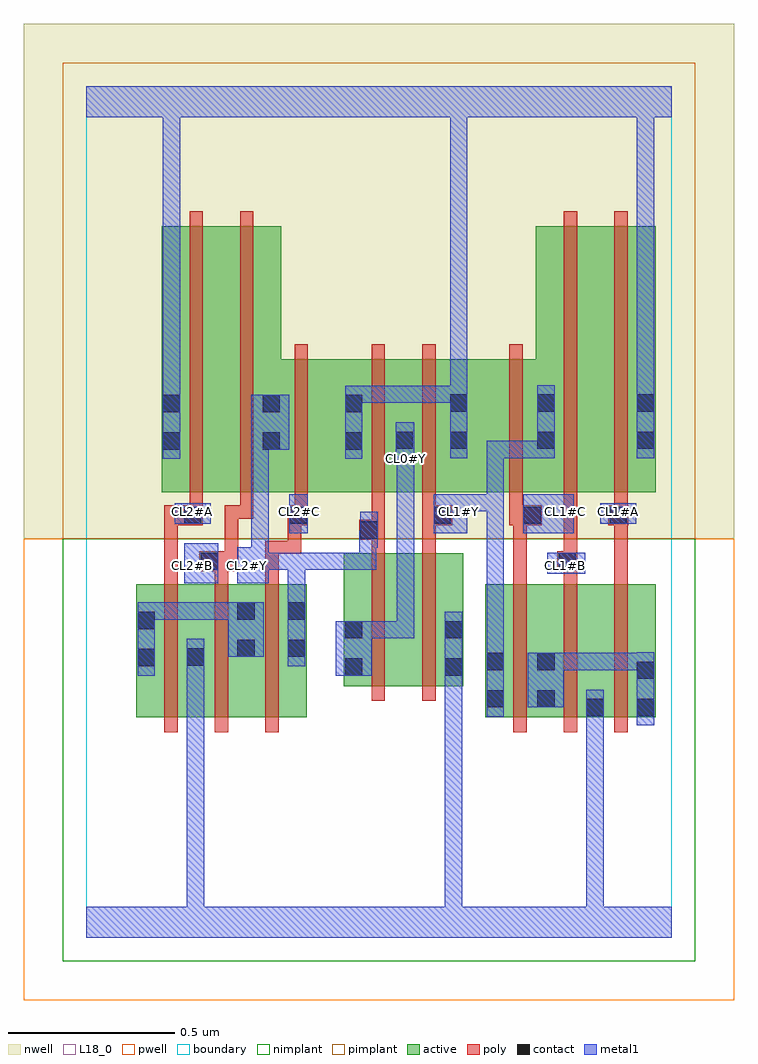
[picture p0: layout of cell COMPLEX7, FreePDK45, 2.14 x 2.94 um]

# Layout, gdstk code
import gdstk
lib = gdstk.Library(unit=1e-6, precision=1e-09)
def R(c, l, rs):  # rectangles x0, y0, x1, y1
    for r in rs: c.add(gdstk.rectangle(r[:2], r[2:], *l))
def A(c, l, x, y, w, h, nx, ny, dx, dy):  # array of equal rectangles
    R(c, l, [(x+i*dx, y+j*dy, x+i*dx+w, y+j*dy+h) for i in range(nx) for j in range(ny)])
active = (1, 0)
pwell = (2, 0)
nwell = (3, 0)
nimplant = (4, 0)
pimplant = (5, 0)
poly = (9, 0)
contact = (10, 0)
metal1 = (11, 0)
L18_0 = (18, 0)
boundary = (235, 0)

complex7 = lib.new_cell('COMPLEX7')
A(complex7, active, 0.298, 0.662, 0.06, 0.4, 3, 1, 0.152, 0)
R(complex7, active, [(0.15,0.662,0.21,1.062), (0.15,0.662,0.358,1.062), (0.298,0.662,0.51,1.062), (0.45,0.662,0.662,1.062), (1.2,0.662,1.26,1.062), (1.2,0.662,1.412,1.062), (1.352,0.662,1.412,1.062), (1.352,0.662,1.56,1.062), (1.5,0.662,1.712,1.062), (1.5,0.662,1.56,0.828), (1.652,0.662,1.712,1.062), (0.774,0.756,0.834,1.156), (0.774,0.756,0.954,1.156), (0.954,0.756,1.134,1.156), (1.074,0.756,1.134,1.156), (0.226,1.34,0.286,2.044), (0.226,1.34,0.406,2.14), (0.406,1.34,0.586,2.14), (0.526,1.34,0.834,1.74), (0.526,1.34,0.586,2.14), (0.774,1.34,0.834,1.74), (0.774,1.34,0.986,1.74), (0.926,1.34,1.15,1.74), (1.09,1.34,1.15,1.74), (1.09,1.34,1.412,1.74), (1.352,1.34,1.532,2.14), (1.352,1.34,1.412,1.772), (1.532,1.34,1.712,2.14), (1.652,1.34,1.712,2.044), (0.926,1.466,0.986,1.644)])
R(complex7, pwell, [(-0.188,-0.188,1.948,1.2)])
R(complex7, nwell, [(-0.188,1.2,1.948,2.748)])
R(complex7, nimplant, [(-0.072,-0.072,1.832,1.2)])
R(complex7, pimplant, [(-0.072,1.2,1.832,2.632)])
A(complex7, poly, 0.234, 0.618, 0.04, 0.488, 3, 1, 0.152, 0)
A(complex7, poly, 1.284, 0.618, 0.04, 0.488, 3, 1, 0.152, 0)
R(complex7, poly, [(0.858,0.712,0.898,1.2), (1.01,0.712,1.05,1.2), (0.234,1.066,0.274,1.28), (0.386,1.066,0.426,1.142), (0.538,1.066,0.578,1.194), (1.284,1.066,1.324,1.28), (1.436,1.066,1.476,1.142), (1.588,1.066,1.628,1.28), (0.34,1.102,0.456,1.162), (1.416,1.102,1.476,1.162), (0.416,1.122,0.456,1.3), (1.436,1.122,1.476,1.162), (1.436,1.122,1.476,1.162), (1.436,1.122,1.476,1.336), (0.538,1.154,0.646,1.194), (0.606,1.154,0.646,1.28), (0.858,1.16,0.898,1.236), (1.01,1.16,1.05,1.28), (0.82,1.196,0.898,1.256), (0.858,1.216,0.898,1.256), (0.858,1.216,0.898,1.256), (0.858,1.216,0.898,1.336), (0.234,1.24,0.274,1.28), (0.234,1.24,0.274,1.28), (0.234,1.24,0.35,1.3), (0.606,1.24,0.666,1.3), (1.01,1.24,1.1,1.3), (1.272,1.24,1.37,1.3), (1.284,1.24,1.324,1.28), (1.284,1.24,1.324,1.28), (1.57,1.24,1.63,1.3), (1.588,1.24,1.628,1.28), (1.588,1.24,1.628,1.28), (0.31,1.26,0.35,1.336), (0.416,1.26,0.502,1.3), (0.462,1.26,0.502,1.336), (0.626,1.26,0.666,1.336), (1.01,1.26,1.05,1.336), (1.01,1.26,1.05,1.3), (1.01,1.26,1.05,1.3), (1.272,1.26,1.312,1.336), (1.588,1.26,1.628,1.336), (0.31,1.296,0.35,2.184), (0.462,1.296,0.502,2.184), (0.626,1.296,0.666,1.784), (0.858,1.296,0.898,1.784), (1.01,1.296,1.05,1.784), (1.272,1.296,1.312,1.784), (1.436,1.296,1.476,2.184), (1.588,1.296,1.628,2.184)])
R(complex7, contact, [(1.504,0.666,1.556,0.718), (1.656,0.666,1.708,0.718), (1.204,0.692,1.256,0.744), (1.356,0.692,1.408,0.744), (1.656,0.778,1.708,0.83), (0.778,0.788,0.83,0.84), (1.078,0.788,1.13,0.84), (1.204,0.804,1.256,0.856), (1.356,0.804,1.408,0.856), (0.154,0.816,0.206,0.868), (0.302,0.818,0.354,0.87), (0.454,0.844,0.506,0.896), (0.606,0.844,0.658,0.896), (0.778,0.9,0.83,0.952), (1.078,0.9,1.13,0.952), (0.154,0.928,0.206,0.98), (0.454,0.956,0.506,1.008), (0.606,0.956,0.658,1.008), (0.344,1.106,0.396,1.158), (1.42,1.106,1.472,1.158), (0.824,1.2,0.876,1.252), (0.294,1.244,0.346,1.296), (0.61,1.244,0.662,1.296), (1.044,1.244,1.096,1.296), (1.314,1.244,1.366,1.296), (1.574,1.244,1.626,1.296), (0.23,1.468,0.282,1.52), (0.53,1.468,0.582,1.52), (0.778,1.468,0.83,1.52), (0.93,1.47,0.982,1.522), (1.094,1.47,1.146,1.522), (1.356,1.47,1.408,1.522), (1.656,1.47,1.708,1.522), (0.23,1.58,0.282,1.632), (0.53,1.58,0.582,1.632), (0.778,1.58,0.83,1.632), (1.094,1.582,1.146,1.634), (1.356,1.582,1.408,1.634), (1.656,1.582,1.708,1.634)])
R(complex7, metal1, [(0,0,1.76,0.092), (0.302,0.04,0.354,0.092), (0.302,0.04,0.354,0.092), (0.302,0.04,0.354,0.092), (0.302,0.04,0.354,0.092), (0.302,0.04,0.354,0.092), (0.302,0.04,0.354,0.092), (0.302,0.04,0.354,0.842), (1.078,0.04,1.13,0.092), (1.078,0.04,1.13,0.092), (1.078,0.04,1.13,0.092), (1.078,0.04,1.13,0.092), (1.078,0.04,1.13,0.092), (1.078,0.04,1.13,0.092), (1.078,0.04,1.13,0.092), (1.078,0.04,1.13,0.092), (1.078,0.04,1.13,0.092), (1.078,0.04,1.13,0.092), (1.078,0.04,1.13,0.092), (1.078,0.04,1.13,0.092), (1.078,0.04,1.13,0.812), (1.504,0.04,1.556,0.092), (1.504,0.04,1.556,0.092), (1.504,0.04,1.556,0.092), (1.504,0.04,1.556,0.092), (1.504,0.04,1.556,0.092), (1.504,0.04,1.556,0.092), (1.504,0.04,1.556,0.092), (1.504,0.04,1.556,0.092), (1.504,0.04,1.556,0.092), (1.504,0.04,1.556,0.092), (1.504,0.04,1.556,0.092), (1.504,0.04,1.556,0.092), (1.504,0.04,1.556,0.69), (1.504,0.638,1.556,0.746), (1.656,0.638,1.708,0.858), (1.204,0.664,1.256,0.884), (1.328,0.692,1.436,0.856), (1.078,0.76,1.13,0.98), (0.154,0.788,0.206,1.008), (0.75,0.788,0.858,0.952), (0.302,0.79,0.354,0.842), (0.302,0.79,0.354,0.842), (0.302,0.79,0.354,0.842), (0.302,0.79,0.354,0.842), (0.302,0.79,0.354,0.842), (0.302,0.79,0.354,0.842), (0.302,0.79,0.354,0.898), (1.384,0.804,1.436,0.856), (1.384,0.804,1.436,0.856), (1.384,0.804,1.598,0.856), (1.546,0.804,1.598,0.856), (1.546,0.804,1.708,0.856), (1.656,0.804,1.708,0.856), (1.656,0.804,1.708,0.856), (0.606,0.816,0.658,1.036), (1.204,0.832,1.256,1.334), (0.426,0.844,0.534,1.008), (0.806,0.9,0.986,0.952), (0.934,0.9,0.986,0.952), (0.934,0.9,0.986,0.952), (0.934,0.9,0.986,0.952), (0.934,0.9,0.986,1.438), (0.154,0.956,0.206,1.008), (0.154,0.956,0.206,1.008), (0.154,0.956,0.368,1.008), (0.316,0.956,0.368,1.008), (0.316,0.956,0.478,1.008), (0.426,0.956,0.478,1.008), (0.426,0.956,0.478,1.008), (0.606,0.984,0.658,1.158), (0.294,1.066,0.396,1.186), (0.454,1.066,0.548,1.174), (1.386,1.094,1.5,1.158), (0.496,1.106,0.658,1.158), (0.606,1.106,0.658,1.158), (0.606,1.106,0.658,1.158), (0.606,1.106,0.658,1.158), (0.606,1.106,0.872,1.158), (0.82,1.106,0.872,1.224), (0.496,1.122,0.548,1.52), (0.82,1.172,0.876,1.224), (0.824,1.172,0.876,1.28), (0.61,1.216,0.666,1.334), (1.044,1.216,1.146,1.334), (1.314,1.216,1.466,1.334), (0.266,1.244,0.374,1.306), (1.546,1.244,1.654,1.306), (1.094,1.282,1.146,1.334), (1.094,1.282,1.146,1.334), (1.094,1.282,1.256,1.334), (1.204,1.282,1.256,1.334), (1.204,1.282,1.256,1.334), (1.204,1.282,1.256,1.334), (1.204,1.282,1.256,1.494), (0.934,1.386,0.986,1.494), (0.23,1.44,0.282,1.66), (0.778,1.44,0.83,1.66), (0.93,1.442,0.986,1.55), (0.934,1.442,0.986,1.494), (0.934,1.442,0.986,1.494), (0.934,1.442,0.986,1.494), (1.094,1.442,1.146,1.662), (1.204,1.442,1.256,1.494), (1.204,1.442,1.256,1.494), (1.204,1.442,1.256,1.494), (1.204,1.442,1.408,1.494), (1.356,1.442,1.408,1.662), (1.656,1.442,1.708,1.662), (0.496,1.468,0.548,1.52), (0.496,1.468,0.548,1.52), (0.496,1.468,0.61,1.632), (0.23,1.608,0.282,1.66), (0.23,1.608,0.282,1.66), (0.23,1.608,0.282,1.66), (0.23,1.608,0.282,1.66), (0.23,1.608,0.282,1.66), (0.23,1.608,0.282,1.66), (0.23,1.608,0.282,1.66), (0.23,1.608,0.282,1.66), (0.23,1.608,0.282,2.52), (0.778,1.608,0.83,1.66), (0.778,1.608,0.83,1.66), (0.778,1.608,1.02,1.66), (0.968,1.608,1.02,1.66), (0.968,1.608,1.146,1.66), (1.094,1.608,1.146,1.66), (1.094,1.608,1.146,1.66), (1.094,1.61,1.146,1.662), (1.094,1.61,1.146,1.662), (1.094,1.61,1.146,1.662), (1.094,1.61,1.146,1.662), (1.094,1.61,1.146,1.662), (1.094,1.61,1.146,1.662), (1.094,1.61,1.146,1.662), (1.094,1.61,1.146,1.662), (1.094,1.61,1.146,1.662), (1.094,1.61,1.146,1.662), (1.094,1.61,1.146,1.662), (1.094,1.61,1.146,1.662), (1.094,1.61,1.146,1.662), (1.094,1.61,1.146,1.662), (1.094,1.61,1.146,1.662), (1.094,1.61,1.146,1.662), (1.094,1.61,1.146,2.52), (1.656,1.61,1.708,1.662), (1.656,1.61,1.708,1.662), (1.656,1.61,1.708,1.662), (1.656,1.61,1.708,1.662), (1.656,1.61,1.708,1.662), (1.656,1.61,1.708,1.662), (1.656,1.61,1.708,1.662), (1.656,1.61,1.708,1.662), (1.656,1.61,1.708,2.52), (0,2.468,1.76,2.56)])
R(complex7, L18_0, [(0,0,1.76,0.092), (0.302,0.04,0.354,0.092), (0.302,0.04,0.354,0.092), (0.302,0.04,0.354,0.092), (0.302,0.04,0.354,0.092), (0.302,0.04,0.354,0.092), (0.302,0.04,0.354,0.092), (0.302,0.04,0.354,0.842), (1.078,0.04,1.13,0.092), (1.078,0.04,1.13,0.092), (1.078,0.04,1.13,0.092), (1.078,0.04,1.13,0.092), (1.078,0.04,1.13,0.092), (1.078,0.04,1.13,0.092), (1.078,0.04,1.13,0.092), (1.078,0.04,1.13,0.092), (1.078,0.04,1.13,0.092), (1.078,0.04,1.13,0.092), (1.078,0.04,1.13,0.092), (1.078,0.04,1.13,0.092), (1.078,0.04,1.13,0.812), (1.504,0.04,1.556,0.092), (1.504,0.04,1.556,0.092), (1.504,0.04,1.556,0.092), (1.504,0.04,1.556,0.092), (1.504,0.04,1.556,0.092), (1.504,0.04,1.556,0.092), (1.504,0.04,1.556,0.092), (1.504,0.04,1.556,0.092), (1.504,0.04,1.556,0.092), (1.504,0.04,1.556,0.092), (1.504,0.04,1.556,0.092), (1.504,0.04,1.556,0.092), (1.504,0.04,1.556,0.69), (1.504,0.638,1.556,0.746), (1.204,0.664,1.256,0.884), (1.078,0.76,1.13,0.98), (0.75,0.788,0.858,0.952), (0.302,0.79,0.354,0.842), (0.302,0.79,0.354,0.842), (0.302,0.79,0.354,0.842), (0.302,0.79,0.354,0.842), (0.302,0.79,0.354,0.842), (0.302,0.79,0.354,0.842), (0.302,0.79,0.354,0.898), (0.606,0.816,0.658,1.036), (1.204,0.832,1.256,1.334), (0.806,0.9,0.986,0.952), (0.934,0.9,0.986,0.952), (0.934,0.9,0.986,0.952), (0.934,0.9,0.986,0.952), (0.934,0.9,0.986,1.438), (0.606,0.984,0.658,1.158), (0.294,1.066,0.396,1.186), (0.454,1.066,0.548,1.174), (0.294,1.094,0.346,1.146), (0.454,1.094,0.506,1.146), (1.386,1.094,1.5,1.158), (1.414,1.094,1.466,1.146), (0.496,1.106,0.658,1.158), (0.606,1.106,0.658,1.158), (0.606,1.106,0.658,1.158), (0.606,1.106,0.658,1.158), (0.606,1.106,0.872,1.158), (0.82,1.106,0.872,1.224), (0.496,1.122,0.548,1.52), (0.82,1.172,0.876,1.224), (0.824,1.172,0.876,1.28), (0.61,1.216,0.666,1.334), (1.044,1.216,1.146,1.334), (1.314,1.216,1.466,1.334), (0.266,1.244,0.374,1.306), (1.546,1.244,1.654,1.306), (0.294,1.254,0.346,1.306), (0.614,1.254,0.666,1.306), (1.094,1.254,1.146,1.306), (1.414,1.254,1.466,1.306), (1.574,1.254,1.626,1.306), (1.094,1.282,1.146,1.334), (1.094,1.282,1.146,1.334), (1.094,1.282,1.256,1.334), (1.204,1.282,1.256,1.334), (1.204,1.282,1.256,1.334), (1.204,1.282,1.256,1.334), (1.204,1.282,1.256,1.494), (0.934,1.386,0.986,1.494), (0.934,1.414,0.986,1.466), (0.23,1.44,0.282,1.66), (0.778,1.44,0.83,1.66), (0.93,1.442,0.986,1.55), (0.934,1.442,0.986,1.494), (0.934,1.442,0.986,1.494), (0.934,1.442,0.986,1.494), (1.094,1.442,1.146,1.662), (1.204,1.442,1.256,1.494), (1.204,1.442,1.256,1.494), (1.204,1.442,1.256,1.494), (1.204,1.442,1.408,1.494), (1.356,1.442,1.408,1.662), (1.656,1.442,1.708,1.662), (0.496,1.468,0.548,1.52), (0.496,1.468,0.548,1.52), (0.496,1.468,0.61,1.632), (0.23,1.608,0.282,1.66), (0.23,1.608,0.282,1.66), (0.23,1.608,0.282,1.66), (0.23,1.608,0.282,1.66), (0.23,1.608,0.282,1.66), (0.23,1.608,0.282,1.66), (0.23,1.608,0.282,1.66), (0.23,1.608,0.282,1.66), (0.23,1.608,0.282,2.52), (0.778,1.608,0.83,1.66), (0.778,1.608,0.83,1.66), (0.778,1.608,1.02,1.66), (0.968,1.608,1.02,1.66), (0.968,1.608,1.146,1.66), (1.094,1.608,1.146,1.66), (1.094,1.608,1.146,1.66), (1.094,1.61,1.146,1.662), (1.094,1.61,1.146,1.662), (1.094,1.61,1.146,1.662), (1.094,1.61,1.146,1.662), (1.094,1.61,1.146,1.662), (1.094,1.61,1.146,1.662), (1.094,1.61,1.146,1.662), (1.094,1.61,1.146,1.662), (1.094,1.61,1.146,1.662), (1.094,1.61,1.146,1.662), (1.094,1.61,1.146,1.662), (1.094,1.61,1.146,1.662), (1.094,1.61,1.146,1.662), (1.094,1.61,1.146,1.662), (1.094,1.61,1.146,1.662), (1.094,1.61,1.146,1.662), (1.094,1.61,1.146,2.52), (1.656,1.61,1.708,1.662), (1.656,1.61,1.708,1.662), (1.656,1.61,1.708,1.662), (1.656,1.61,1.708,1.662), (1.656,1.61,1.708,1.662), (1.656,1.61,1.708,1.662), (1.656,1.61,1.708,1.662), (1.656,1.61,1.708,1.662), (1.656,1.61,1.708,2.52), (0,2.468,1.76,2.56)])
R(complex7, boundary, [(0,0,1.76,2.56)])
complex7.add(gdstk.Label('CL0#Y', (0.96,1.44), layer=11, texttype=0))
complex7.add(gdstk.Label('CL1#A', (1.6,1.28), layer=11, texttype=0))
complex7.add(gdstk.Label('CL1#B', (1.44,1.12), layer=11, texttype=0))
complex7.add(gdstk.Label('CL1#C', (1.44,1.28), layer=11, texttype=0))
complex7.add(gdstk.Label('CL1#Y', (1.12,1.28), layer=11, texttype=0))
complex7.add(gdstk.Label('CL2#A', (0.32,1.28), layer=11, texttype=0))
complex7.add(gdstk.Label('CL2#B', (0.32,1.12), layer=11, texttype=0))
complex7.add(gdstk.Label('CL2#C', (0.64,1.28), layer=11, texttype=0))
complex7.add(gdstk.Label('CL2#Y', (0.48,1.12), layer=11, texttype=0))

lib.write_gds('COMPLEX7.gds')
